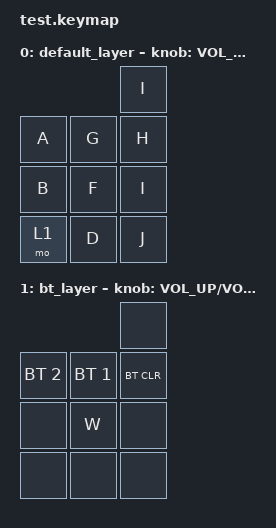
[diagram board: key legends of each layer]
#include <behaviors.dtsi>
#include <dt-bindings/zmk/keys.h>
#include <dt-bindings/zmk/bt.h>

&right_encoder {
    status = "okay";
};

/ {  
    keymap {
        compatible = "zmk,keymap";

        default_layer {
            bindings = <
                         &kp I
                &kp A    &kp G    &kp H
                &kp B    &kp F    &kp I
                &mo 1    &kp D    &kp J
            >;
            sensor-bindings = <&inc_dec_kp C_VOL_UP C_VOL_DN &inc_dec_kp PG_UP PG_DN>;

        };

        bt_layer {
            bindings = <
                                &none
                &bt BT_SEL 2    &bt BT_SEL 1    &bt BT_CLR
                &none           &kp W           &none
                &none           &none           &none
            >;
            sensor-bindings = <&inc_dec_kp C_VOL_UP C_VOL_DN &inc_dec_kp PG_UP PG_DN>;

        };
    };
};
